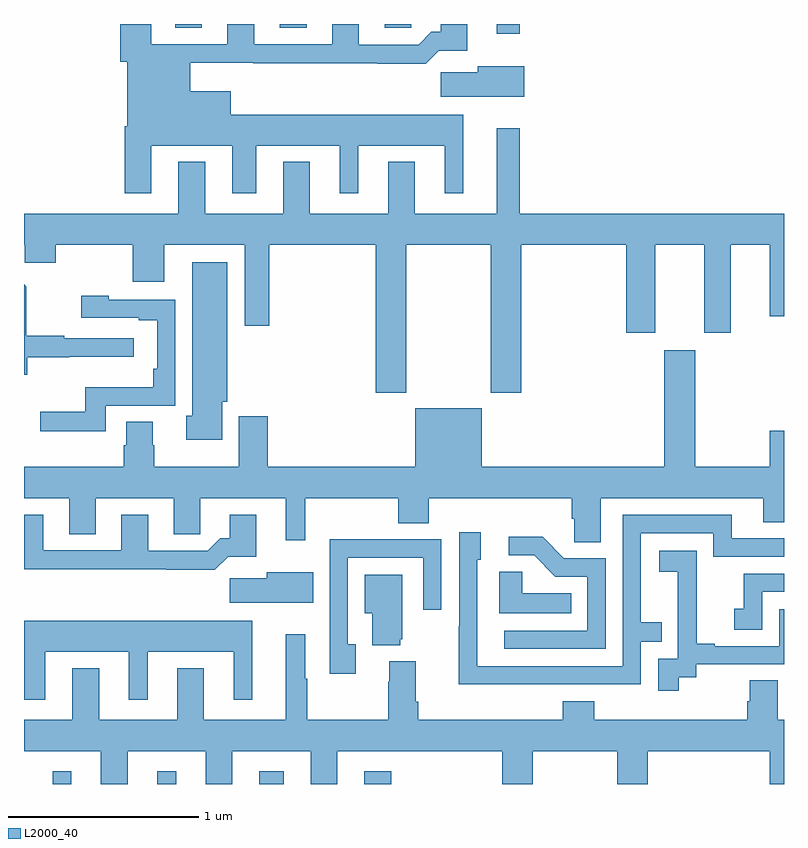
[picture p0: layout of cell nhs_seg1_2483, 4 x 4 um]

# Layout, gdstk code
import gdstk
lib = gdstk.Library(unit=1e-6, precision=1e-09)
def R(c, l, rs):  # rectangles x0, y0, x1, y1
    for r in rs: c.add(gdstk.rectangle(r[:2], r[2:], *l))
def P(c, l, *ps):  # polygons
    for p in ps: c.add(gdstk.Polygon(p, *l))
L2000_40 = (2000, 40)

nhs_seg1_2483 = lib.new_cell('nhs_seg1_2483')
R(nhs_seg1_2483, L2000_40, [(245.15,578.199,245.248,578.266), (245.702,578.199,245.8,578.266), (246.239,578.199,246.367,578.266), (246.791,578.199,246.932,578.266), (247.487,582.147,247.609,582.199), (245.795,582.178,245.935,582.199), (246.347,582.178,246.487,582.199), (246.899,582.178,247.038,582.199)])
P(nhs_seg1_2483, L2000_40, [(245.671,581.558),(246.095,581.558),(246.095,581.307),(246.223,581.307),(246.223,581.558),(246.662,581.558),(246.662,581.307),(246.76,581.307),(246.76,581.558),(247.214,581.558),(247.214,581.307),(247.312,581.307),(247.312,581.722),(246.088,581.722),(246.088,581.845),(245.875,581.845),(245.875,581.996),(246.207,581.996),(246.207,581.992),(246.859,581.992),(246.859,581.99),(247.115,581.99),(247.184,582.059),(247.333,582.059),(247.333,582.199),(247.193,582.199),(247.193,582.157),(247.144,582.157),(247.077,582.09),(246.763,582.09),(246.763,582.199),(246.623,582.199),(246.623,582.093),(246.211,582.093),(246.211,582.199),(246.071,582.199),(246.071,582.093),(245.671,582.093),(245.671,582.199),(245.507,582.199),(245.507,582),(245.543,582),(245.543,581.662),(245.531,581.662),(245.531,581.307),(245.671,581.307)],
  [(247.633,581.977),(247.388,581.977),(247.388,581.945),(247.194,581.945),(247.194,581.816),(247.633,581.816)],
  [(245.813,581.473),(245.813,581.2),(245,581.2),(245,581.036),(245.003,581.036),(245.003,580.943),(245.167,580.943),(245.167,581.036),(245.573,581.036),(245.573,580.842),(245.737,580.842),(245.737,581.036),(246.161,581.036),(246.161,580.611),(246.29,580.611),(246.29,581.036),(246.851,581.036),(246.851,580.257),(247.011,580.257),(247.011,581.036),(247.456,581.036),(247.456,580.257),(247.616,580.257),(247.616,581.036),(248.171,581.036),(248.171,580.575),(248.323,580.575),(248.323,581.036),(248.579,581.036),(248.579,580.575),(248.719,580.575),(248.719,581.036),(248.924,581.036),(248.924,580.662),(249,580.662),(249,581.2),(247.609,581.2),(247.609,581.65),(247.487,581.65),(247.487,581.2),(247.057,581.2),(247.057,581.473),(246.917,581.473),(246.917,581.2),(246.505,581.2),(246.505,581.473),(246.365,581.473),(246.365,581.2),(245.953,581.2),(245.953,581.473)],
  [(246.043,580.212),(246.07,580.212),(246.07,580.945),(245.885,580.945),(245.885,580.136),(245.855,580.136),(245.855,580.01),(246.043,580.01)],
  [(245.018,580.444),(245.237,580.444),(245.237,580.448),(245.578,580.448),(245.578,580.545),(245.213,580.545),(245.213,580.558),(245.013,580.558),(245.013,580.815),(245,580.828),(245,580.352),(245.018,580.352)],
  [(245.43,580.191),(245.796,580.191),(245.796,580.749),(245.445,580.749),(245.445,580.768),(245.301,580.768),(245.301,580.653),(245.603,580.653),(245.603,580.641),(245.7,580.641),(245.7,580.384),(245.68,580.384),(245.68,580.288),(245.322,580.288),(245.322,580.157),(245.085,580.157),(245.085,580.055),(245.43,580.055)],
  [(247.408,580.177),(247.058,580.177),(247.058,579.868),(246.284,579.868),(246.284,580.135),(246.131,580.135),(246.131,579.868),(245.685,579.868),(245.685,579.981),(245.677,579.981),(245.677,580.106),(245.537,580.106),(245.537,579.981),(245.525,579.981),(245.525,579.868),(245,579.868),(245,579.704),(245.237,579.704),(245.237,579.514),(245.377,579.514),(245.377,579.704),(245.789,579.704),(245.789,579.514),(245.928,579.514),(245.928,579.704),(246.377,579.704),(246.377,579.483),(246.481,579.483),(246.481,579.704),(246.97,579.704),(246.97,579.571),(247.13,579.571),(247.13,579.704),(247.883,579.704),(247.883,579.595),(247.896,579.595),(247.896,579.472),(248.035,579.472),(248.035,579.704),(248.891,579.704),(248.891,579.577),(249,579.577),(249,580.057),(248.924,580.057),(248.924,579.868),(248.533,579.868),(248.533,580.483),(248.369,580.483),(248.369,579.868),(247.408,579.868)],
  [(246.074,579.395),(246.223,579.395),(246.223,579.616),(246.083,579.616),(246.083,579.493),(246.034,579.493),(245.967,579.426),(245.653,579.426),(245.653,579.616),(245.513,579.616),(245.513,579.429),(245.101,579.429),(245.101,579.616),(245,579.616),(245,579.328),(245.749,579.328),(245.749,579.326),(246.005,579.326)],
  [(247.751,578.724),(248.247,578.724),(248.247,578.949),(248.357,578.949),(248.357,579.05),(248.247,579.05),(248.247,579.519),(248.628,579.519),(248.628,579.396),(249,579.396),(249,579.492),(248.725,579.492),(248.725,579.615),(248.151,579.615),(248.151,578.82),(247.386,578.82),(247.386,579.378),(247.405,579.378),(247.405,579.523),(247.29,579.523),(247.29,579.029),(247.288,579.029),(247.288,578.723),(247.751,578.723)],
  [(248.061,579.387),(247.842,579.387),(247.729,579.5),(247.551,579.5),(247.551,579.402),(247.685,579.402),(247.796,579.291),(247.965,579.291),(247.965,579.006),(247.527,579.006),(247.527,578.91),(248.061,578.91)],
  [(246.745,578.934),(246.705,578.934),(246.705,579.39),(247.101,579.39),(247.101,579.117),(247.197,579.117),(247.197,579.486),(246.881,579.486),(246.881,579.488),(246.609,579.488),(246.609,578.778),(246.745,578.778)],
  [(248.446,578.761),(248.538,578.761),(248.538,578.829),(249,578.829),(249,579.12),(248.976,579.12),(248.976,578.925),(248.635,578.925),(248.635,578.938),(248.54,578.938),(248.54,579.221),(248.541,579.221),(248.541,579.427),(248.343,579.427),(248.343,579.317),(248.441,579.317),(248.441,579.089),(248.442,579.089),(248.442,578.859),(248.337,578.859),(248.337,578.691),(248.446,578.691)],
  [(247.88,579.202),(247.623,579.202),(247.623,579.317),(247.502,579.317),(247.502,579.098),(247.88,579.098)],
  [(246.523,579.313),(246.278,579.313),(246.278,579.281),(246.084,579.281),(246.084,579.152),(246.523,579.152)],
  [(248.886,579.21),(249,579.21),(249,579.306),(248.788,579.306),(248.788,579.121),(248.739,579.121),(248.739,579.012),(248.886,579.012)],
  [(246.98,578.961),(246.991,578.961),(246.991,579.301),(246.794,579.301),(246.794,579.098),(246.833,579.098),(246.833,578.93),(246.98,578.93)],
  [(245.113,578.894),(245.552,578.894),(245.552,578.643),(245.65,578.643),(245.65,578.894),(246.104,578.894),(246.104,578.643),(246.202,578.643),(246.202,579.058),(245,579.058),(245,578.643),(245.113,578.643)],
  [(245.545,578.372),(245.957,578.372),(245.957,578.199),(246.097,578.199),(246.097,578.372),(246.509,578.372),(246.509,578.199),(246.649,578.199),(246.649,578.372),(247.517,578.372),(247.517,578.199),(247.677,578.199),(247.677,578.372),(248.122,578.372),(248.122,578.199),(248.282,578.199),(248.282,578.372),(248.924,578.372),(248.924,578.199),(249,578.199),(249,578.536),(248.967,578.536),(248.967,578.744),(248.819,578.744),(248.819,578.634),(248.807,578.634),(248.807,578.536),(248,578.536),(248,578.635),(247.835,578.635),(247.835,578.536),(247.076,578.536),(247.076,578.632),(247.063,578.632),(247.063,578.845),(246.923,578.845),(246.923,578.738),(246.916,578.738),(246.916,578.536),(246.491,578.536),(246.491,578.753),(246.481,578.753),(246.481,578.986),(246.377,578.986),(246.377,578.536),(245.947,578.536),(245.947,578.809),(245.807,578.809),(245.807,578.536),(245.395,578.536),(245.395,578.809),(245.255,578.809),(245.255,578.536),(245,578.536),(245,578.372),(245.405,578.372),(245.405,578.199),(245.545,578.199)])

lib.write_gds('nhs_seg1_2483.gds')
